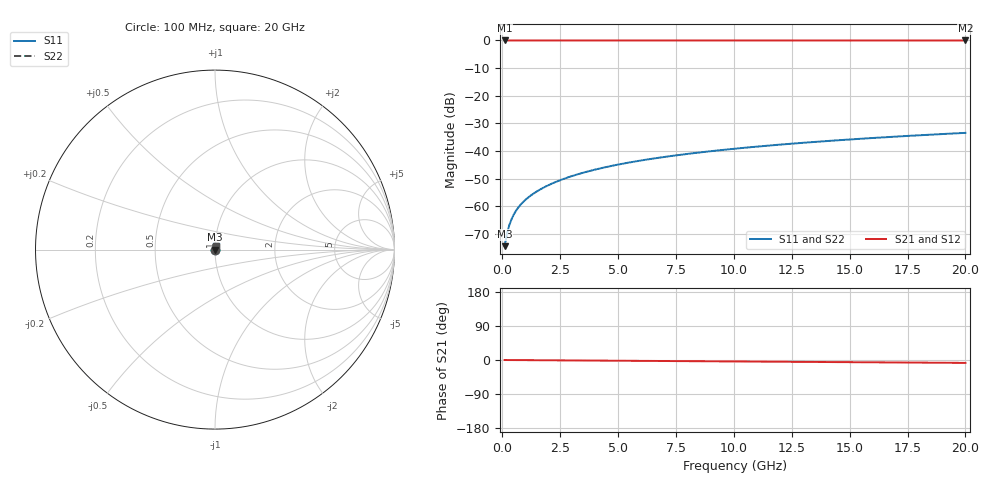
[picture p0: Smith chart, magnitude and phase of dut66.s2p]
! Touchstone file exported from HFSS 2026.1.0
!  File:  C:/ffzhzh/LocalFiles/Ansys_Project_Files/temp_train_TSV_66_1782959116_6388.aedt
!  Generated:  10:26:43 AM Jul  2, 2026
!  Design:  TSV
!  Project:  temp_train_TSV_66_1782959116_6388
! Variables:
!  h_bsmrdl = 2um
!  h_ox = 20um
!  h_rdl = 5um
!  h_sub = 73.1um
!  h_tmrdl = 5um
!  h_tsv = 73.1um
!  h_via = 3um
!  l_bsmrdl = 300um
!  l_sub = 419.4um
!  l_tmrdl = 200um
!  m_sub = 200um
!  pitch = 46.96um
!  r_tsv = 9.7um
!  s_tmrdl = 10um
!  w_bsmrdl = 18um
!  w_sub = 500um
!  w_tmrdl = 12um
!  x_tsv_center1 = 206um
!  x_tsv_center2 = 524um
!  x_tsv_center3 = 736um
!  x_tsv_center4 = 1054um
!  x_tsv_center5 = 1266um
!  x_tsv_center6 = 1584um
# GHz S MA R 50.000000
! Terminal data exported
! Port[1] = TSV1_1_T1
! Port[2] = TSV1_1_T2
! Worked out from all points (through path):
!   200 points, 100 MHz to 20 GHz, reference 50 ohm
!   highest |S21| = 0.00 dB at 100 MHz (marker M1); lowest = 0.0 dB at 20 GHz (marker M2)
!   group delay of S21, straight-line fit = 1.06 ps
!   lowest |S11| = -74.4 dB at 100 MHz (marker M3), VSWR 1.00, Z = 50 + j0.0146 ohm
!   |S11| at or under -10 dB: start of sweep to end of sweep
!   |S22| runs from -74.4 to -33.4 dB; largest |S21 - S12| = 2.3e-15
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0.1  0.0001912 49.7  0.9999 -0.0  0.9999 -0.0  0.0001912 49.7
! Gamma 0 0 0 0
! Port Impedance 50 0 50 0
0.2  0.000319 65.1  0.9999 -0.1  0.9999 -0.1  0.000319 65.1
0.3  0.0004544 70.7  0.9999 -0.1  0.9999 -0.1  0.0004544 70.7
0.4  0.0005883 73.2  0.9998 -0.2  0.9998 -0.2  0.0005883 73.2
0.5  0.0007185 74.5  0.9998 -0.2  0.9998 -0.2  0.0007185 74.5
0.6  0.0008445 75.3  0.9998 -0.2  0.9998 -0.2  0.0008445 75.3
0.7  0.0009668 75.9  0.9998 -0.3  0.9998 -0.3  0.0009668 75.9
0.8  0.001086 76.4  0.9997 -0.3  0.9997 -0.3  0.001086 76.4
1  0.001317 77.1  0.9997 -0.4  0.9997 -0.4  0.001317 77.1
1.4  0.001765 78.5  0.9997 -0.5  0.9997 -0.5  0.001765 78.5
1.7  0.002097 79.3  0.9996 -0.7  0.9996 -0.7  0.002097 79.3
2  0.002428 79.9  0.9996 -0.8  0.9996 -0.8  0.002428 79.9
2.7  0.003199 81.0  0.9995 -1.0  0.9995 -1.0  0.003199 81.0
3.5  0.004077 81.6  0.9995 -1.4  0.9995 -1.4  0.004077 81.6
4.2  0.004839 81.9  0.9994 -1.6  0.9994 -1.6  0.004839 81.9
5  0.005705 82.1  0.9994 -1.9  0.9994 -1.9  0.005705 82.1
6.8  0.00763 82.1  0.9993 -2.6  0.9993 -2.6  0.00763 82.1
8.3  0.009218 82.0  0.9992 -3.2  0.9992 -3.2  0.009218 82.0
10.1  0.01111 81.7  0.9991 -3.9  0.9991 -3.9  0.01111 81.7
13.4  0.01456 81.0  0.9989 -5.1  0.9989 -5.1  0.01456 81.0
16.7  0.01798 80.1  0.9987 -6.4  0.9987 -6.4  0.01798 80.1
20  0.02136 79.1  0.9986 -7.6  0.9986 -7.6  0.02136 79.1
